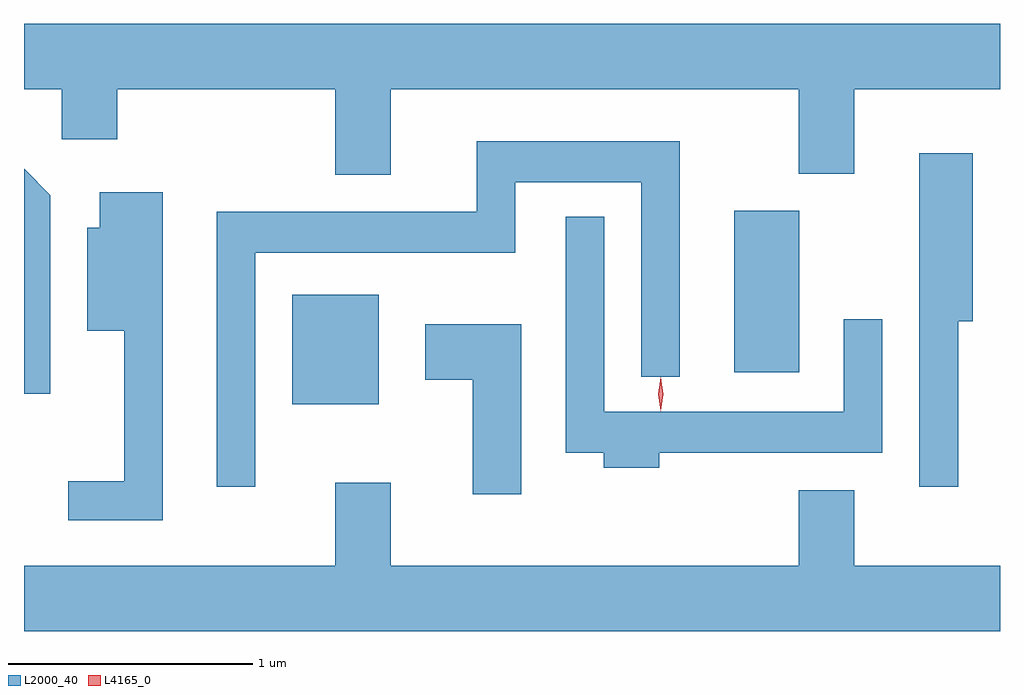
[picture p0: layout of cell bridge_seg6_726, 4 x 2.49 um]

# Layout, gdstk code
import gdstk
lib = gdstk.Library(unit=1e-6, precision=1e-09)
def R(c, l, rs):  # rectangles x0, y0, x1, y1
    for r in rs: c.add(gdstk.rectangle(r[:2], r[2:], *l))
def P(c, l, *ps):  # polygons
    for p in ps: c.add(gdstk.Polygon(p, *l))
L2000_40 = (2000, 40)
L4165_0 = (4165, 0)

bridge_seg6_726 = lib.new_cell('bridge_seg6_726')
R(bridge_seg6_726, L2000_40, [(491.686,1575.386,492.039,1575.834), (493.496,1575.516,493.764,1576.179)])
P(bridge_seg6_726, L2000_40, [(492.089,1576.676),(493.761,1576.676),(493.761,1576.331),(493.989,1576.331),(493.989,1576.676),(494.586,1576.676),(494.586,1576.944),(490.586,1576.944),(490.586,1576.676),(490.741,1576.676),(490.741,1576.471),(490.969,1576.471),(490.969,1576.676),(491.861,1576.676),(491.861,1576.326),(492.089,1576.326)],
  [(491.534,1576.006),(492.599,1576.006),(492.599,1576.296),(493.116,1576.296),(493.116,1575.498),(493.274,1575.498),(493.274,1576.464),(492.441,1576.464),(492.441,1576.174),(491.376,1576.174),(491.376,1575.048),(491.534,1575.048)],
  [(494.414,1575.726),(494.474,1575.726),(494.474,1576.414),(494.256,1576.414),(494.256,1575.048),(494.414,1575.048)],
  [(490.694,1576.242),(490.586,1576.35),(490.586,1575.428),(490.694,1575.428)],
  [(491.154,1576.254),(490.896,1576.254),(490.896,1576.109),(490.846,1576.109),(490.846,1575.686),(490.996,1575.686),(490.996,1575.069),(490.768,1575.069),(490.768,1574.911),(491.154,1574.911)],
  [(493.189,1575.186),(494.104,1575.186),(494.104,1575.733),(493.946,1575.733),(493.946,1575.354),(492.964,1575.354),(492.964,1576.153),(492.806,1576.153),(492.806,1575.186),(492.961,1575.186),(492.961,1575.126),(493.189,1575.126)],
  [(492.624,1575.714),(492.231,1575.714),(492.231,1575.486),(492.426,1575.486),(492.426,1575.016),(492.624,1575.016)],
  [(494.586,1574.724),(493.989,1574.724),(493.989,1575.034),(493.761,1575.034),(493.761,1574.724),(492.089,1574.724),(492.089,1575.064),(491.861,1575.064),(491.861,1574.724),(490.586,1574.724),(490.586,1574.456),(494.586,1574.456)])
P(bridge_seg6_726, L4165_0, [(493.196,1575.357),(493.195,1575.358),(493.186,1575.427),(493.195,1575.496),(493.196,1575.496),(493.196,1575.496),(493.206,1575.427),(493.196,1575.358)])

lib.write_gds('bridge_seg6_726.gds')
